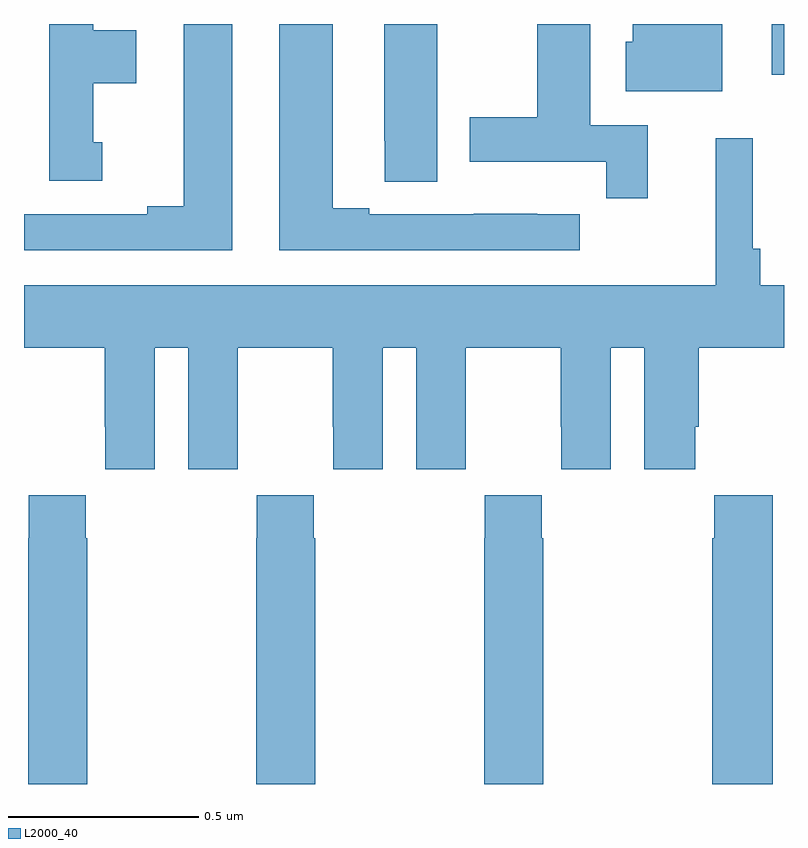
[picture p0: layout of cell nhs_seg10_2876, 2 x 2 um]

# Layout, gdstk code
import gdstk
lib = gdstk.Library(unit=1e-6, precision=1e-09)
def R(c, l, rs):  # rectangles x0, y0, x1, y1
    for r in rs: c.add(gdstk.rectangle(r[:2], r[2:], *l))
def P(c, l, *ps):  # polygons
    for p in ps: c.add(gdstk.Polygon(p, *l))
L2000_40 = (2000, 40)

nhs_seg10_2876 = lib.new_cell('nhs_seg10_2876')
R(nhs_seg10_2876, L2000_40, [(147.968,1302.366,148,1302.5)])
P(nhs_seg10_2876, L2000_40, [(146.548,1302.5),(146.42,1302.5),(146.42,1302.02),(146.324,1302.02),(146.324,1302),(146,1302),(146,1301.904),(146.548,1301.904)],
  [(147.088,1302.5),(146.948,1302.5),(146.948,1302.193),(146.949,1302.193),(146.949,1302.085),(147.088,1302.085)],
  [(146.206,1302.189),(146.182,1302.189),(146.182,1302.344),(146.296,1302.344),(146.296,1302.484),(146.182,1302.484),(146.182,1302.5),(146.066,1302.5),(146.066,1302.087),(146.206,1302.087)],
  [(147.838,1302.5),(147.602,1302.5),(147.602,1302.453),(147.584,1302.453),(147.584,1302.323),(147.838,1302.323)],
  [(147.463,1302),(147.35,1302),(147.35,1302.001),(147.184,1302.001),(147.184,1302),(146.908,1302),(146.908,1302.015),(146.812,1302.015),(146.812,1302.5),(146.672,1302.5),(146.672,1301.904),(147.463,1301.904)],
  [(147.641,1302.234),(147.49,1302.234),(147.49,1302.5),(147.35,1302.5),(147.35,1302.255),(147.173,1302.255),(147.173,1302.138),(147.532,1302.138),(147.532,1302.042),(147.641,1302.042)],
  [(146.344,1301.648),(146.432,1301.648),(146.432,1301.328),(146.562,1301.328),(146.562,1301.44),(146.563,1301.44),(146.563,1301.648),(146.813,1301.648),(146.813,1301.44),(146.814,1301.44),(146.814,1301.328),(146.944,1301.328),(146.944,1301.648),(147.032,1301.648),(147.032,1301.328),(147.162,1301.328),(147.162,1301.44),(147.163,1301.44),(147.163,1301.648),(147.413,1301.648),(147.413,1301.44),(147.414,1301.44),(147.414,1301.328),(147.544,1301.328),(147.544,1301.648),(147.632,1301.648),(147.632,1301.328),(147.766,1301.328),(147.766,1301.44),(147.776,1301.44),(147.776,1301.648),(148,1301.648),(148,1301.812),(147.938,1301.812),(147.938,1301.908),(147.918,1301.908),(147.918,1302.199),(147.821,1302.199),(147.821,1301.812),(146,1301.812),(146,1301.648),(146.213,1301.648),(146.213,1301.44),(146.214,1301.44),(146.214,1301.328),(146.344,1301.328)],
  [(147.971,1301.26),(147.817,1301.26),(147.817,1301.147),(147.811,1301.147),(147.811,1300.5),(147.971,1300.5)],
  [(146.166,1301.147),(146.163,1301.147),(146.163,1301.26),(146.013,1301.26),(146.013,1301.147),(146.011,1301.147),(146.011,1300.5),(146.166,1300.5)],
  [(146.766,1301.147),(146.763,1301.147),(146.763,1301.26),(146.613,1301.26),(146.613,1301.147),(146.611,1301.147),(146.611,1300.5),(146.766,1300.5)],
  [(147.366,1301.147),(147.363,1301.147),(147.363,1301.26),(147.213,1301.26),(147.213,1301.147),(147.211,1301.147),(147.211,1300.5),(147.366,1300.5)])

lib.write_gds('nhs_seg10_2876.gds')
